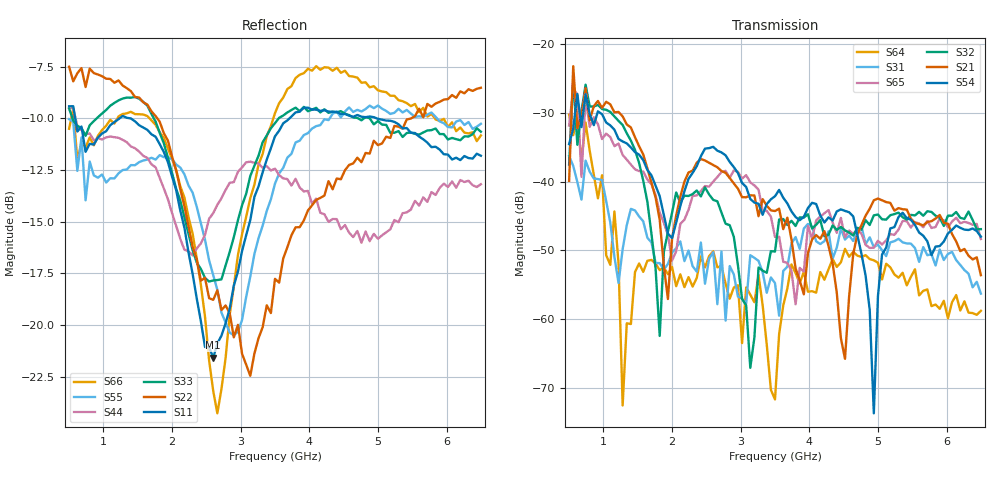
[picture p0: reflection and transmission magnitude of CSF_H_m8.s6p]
!Keysight Technologies,M9804A,MY58100912,A.14.10.03
!Date: Thursday, April 27, 2023 10:28:33
!Correction: S11(C  6-Port  )
!S12(C  6-Port  )
!S13(C  6-Port  )
!S14(C  6-Port  )
!S15(C  6-Port  )
!S16(C  6-Port  )
!S21(C  6-Port  )
!S22(C  6-Port  )
!S23(C  6-Port  )
!S24(C  6-Port  )
!S25(C  6-Port  )
!S26(C  6-Port  )
!S31(C  6-Port  )
!S32(C  6-Port  )
!S33(C  6-Port  )
!S34(C  6-Port  )
!S35(C  6-Port  )
!S36(C  6-Port  )
!S41(C  6-Port  )
!S42(C  6-Port  )
!S43(C  6-Port  )
!S44(C  6-Port  )
!S45(C  6-Port  )
!S46(C  6-Port  )
!S51(C  6-Port  )
!S52(C  6-Port  )
!S53(C  6-Port  )
!S54(C  6-Port  )
!S55(C  6-Port  )
!S56(C  6-Port  )
!S61(C  6-Port  )
!S62(C  6-Port  )
!S63(C  6-Port  )
!S64(C  6-Port  )
!S65(C  6-Port  )
!S66(C  6-Port  )
!S6P File: Measurement: :
# Hz S  RI  R 50
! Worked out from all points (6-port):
!   101 points, 500 MHz to 6.5 GHz, reference 50 ohm
!   strongest paths, dB at 500 MHz, 2 GHz, 3.5 GHz, 5 GHz, 6.5 GHz:
!     S54: -34.5, -48.2, -42.1, -56.7, -48.0
!     S21: -39.9, -48.3, -44.3, -42.5, -53.6
!     S32: -37.5, -44.5, -50.2, -44.8, -46.9
!     S65: -31.9, -51.5, -48.0, -48.6, -48.4
!     S31: -36.3, -50.3, -54.8, -49.2, -56.3
!     S64: -30.3, -52.4, -71.7, -51.8, -58.8
!   lowest |S11| = -21.6 dB at 2.6 GHz (marker M1), VSWR 1.18, Z = 42.6 + j2.04 ohm
!   |S11| at or under -10 dB: 588.4 MHz to 1.237 GHz (648.7 MHz wide, 71.1 % of centre); 1.38 GHz to 3.713 GHz (2.333 GHz wide, 91.6 % of centre); 4.978 GHz to end of sweep
